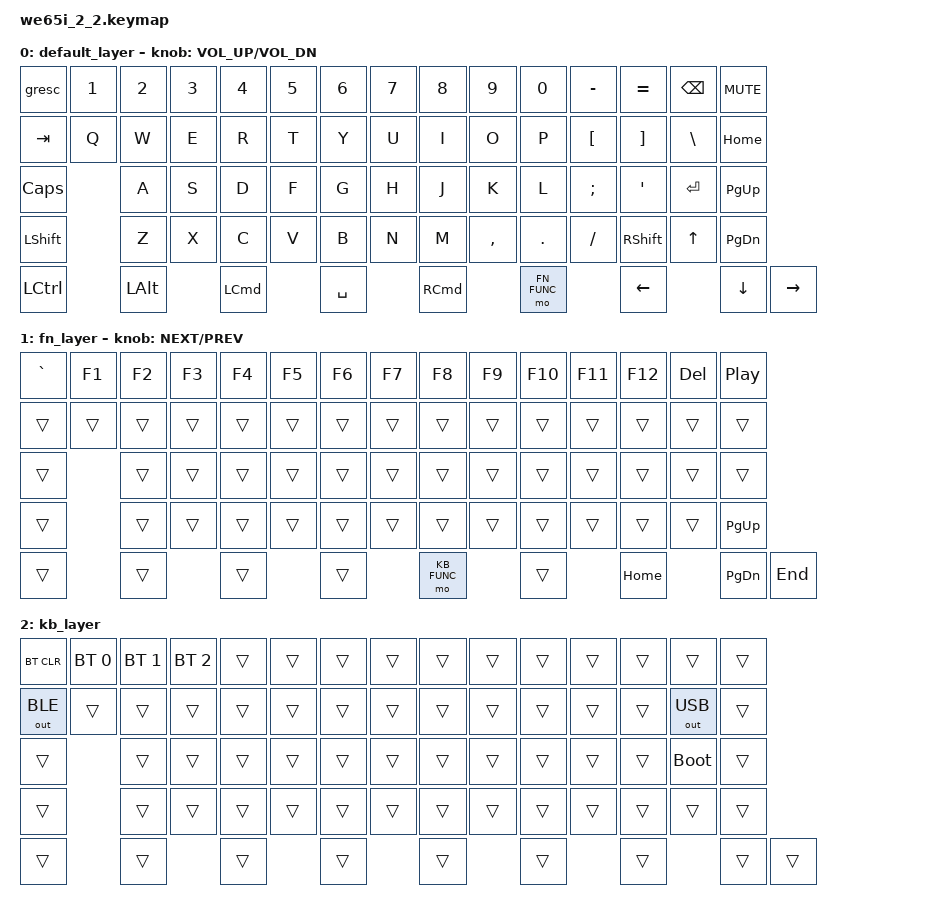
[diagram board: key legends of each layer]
#include <behaviors.dtsi>
#include <dt-bindings/zmk/keys.h>
#include <dt-bindings/zmk/outputs.h>
#include <dt-bindings/zmk/bt.h>

#define DEFAULT	0
#define FN_FUNC	1
#define KB_FUNC	2

/ {
	keymap {
		compatible = "zmk,keymap";
		default_layer {
			bindings = <
	&gresc    &kp N1    &kp N2    &kp N3    &kp N4    &kp N5    &kp N6    &kp N7    &kp N8    &kp N9    &kp N0    &kp MINUS &kp EQUAL &kp BSPC  &kp C_MUTE
	&kp TAB   &kp Q     &kp W     &kp E     &kp R     &kp T     &kp Y     &kp U     &kp I     &kp O     &kp P     &kp LBKT  &kp RBKT  &kp BSLH  &kp HOME  
	&kp CAPS            &kp A     &kp S     &kp D     &kp F     &kp G     &kp H     &kp J     &kp K     &kp L     &kp SEMI  &kp APOS  &kp ENTER &kp PG_UP 
	&kp LSHFT           &kp Z     &kp X     &kp C     &kp V     &kp B     &kp N     &kp M     &kp COMMA &kp DOT   &kp FSLH  &kp RSHFT &kp UP    &kp PG_DN  
	&kp LCTRL           &kp LALT            &kp LCMD            &kp SPACE           &kp RCMD            &mo FN_FUNC         &kp LEFT            &kp DOWN &kp RIGHT
			>;
			sensor-bindings = <&inc_dec_kp C_VOL_UP C_VOL_DN>;
		};
		fn_layer {
			bindings = <
	&kp GRAVE &kp F1    &kp F2    &kp F3    &kp F4    &kp F5    &kp F6    &kp F7    &kp F8    &kp F9    &kp F10   &kp F11   &kp F12   &kp DEL   &kp C_PP
	&trans    &trans    &trans    &trans    &trans    &trans    &trans    &trans    &trans    &trans    &trans    &trans    &trans    &trans    &trans 
	&trans              &trans    &trans    &trans    &trans    &trans    &trans    &trans    &trans    &trans    &trans    &trans    &trans    &trans 
	&trans              &trans    &trans    &trans    &trans    &trans    &trans    &trans    &trans    &trans    &trans    &trans    &trans    &kp PG_UP  
	&trans              &trans              &trans              &trans              &mo KB_FUNC         &trans              &kp HOME            &kp PG_DN   &kp END
			>;
			sensor-bindings = <&inc_dec_kp C_NEXT C_PREV>;
		};
		kb_layer {
			bindings = <
	&bt BT_CLR    &bt BT_SEL 0    &bt BT_SEL 1    &bt BT_SEL 2    &trans    &trans    &trans    &trans    &trans    &trans    &trans    &trans    &trans    &trans    &trans
	&out OUT_BLE    &trans    &trans    &trans    &trans    &trans    &trans    &trans    &trans    &trans    &trans    &trans    &trans    &out OUT_USB    &trans 
	&trans              &trans    &trans    &trans    &trans    &trans    &trans    &trans    &trans    &trans    &trans    &trans    &bootloader    &trans 
	&trans              &trans    &trans    &trans    &trans    &trans    &trans    &trans    &trans    &trans    &trans    &trans    &trans    &trans  
	&trans              &trans              &trans              &trans              &trans              &trans              &trans              &trans   &trans
			>;
		};
	};
};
